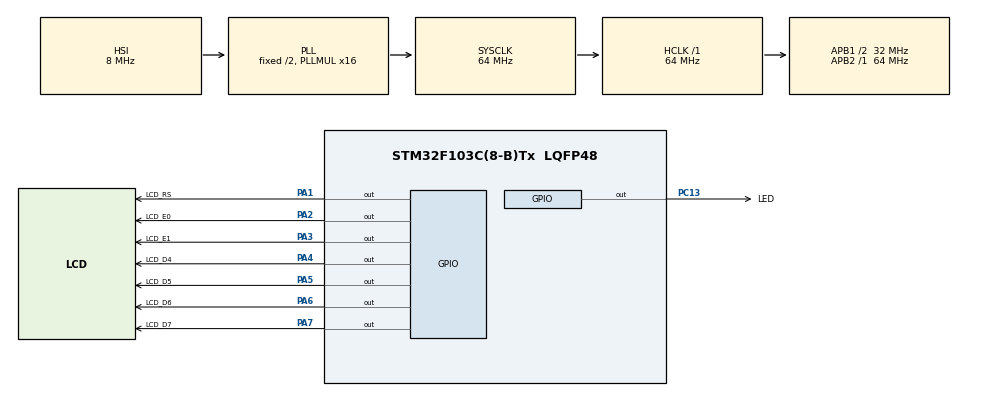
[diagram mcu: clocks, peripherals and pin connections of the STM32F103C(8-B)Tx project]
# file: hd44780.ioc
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Mcu.Family=STM32F1
Mcu.Name=STM32F103C(8-B)Tx
Mcu.Package=LQFP48
NVIC.PriorityGroup=NVIC_PRIORITYGROUP_4
NVIC.TIM1_UP_IRQn=true\:1\:0\:true\:false\:true\:true\:true\:true
PA1.GPIO_Label=LCD_RS
PA1.Signal=GPIO_Output
PA2.GPIO_Label=LCD_E0
PA2.Signal=GPIO_Output
PA3.GPIO_Label=LCD_E1
PA3.Signal=GPIO_Output
PA4.GPIO_Label=LCD_D4
PA4.Signal=GPIO_Output
PA5.GPIO_Label=LCD_D5
PA5.Signal=GPIO_Output
PA6.GPIO_Label=LCD_D6
PA6.Signal=GPIO_Output
PA7.GPIO_Label=LCD_D7
PA7.Signal=GPIO_Output
PC13-TAMPER-RTC.GPIO_Label=LED
PC13-TAMPER-RTC.Signal=GPIO_Output
PD0-OSC_IN.Mode=HSE-External-Oscillator
PD0-OSC_IN.Signal=RCC_OSC_IN
PD1-OSC_OUT.Mode=HSE-External-Oscillator
PD1-OSC_OUT.Signal=RCC_OSC_OUT
ProjectManager.HeapSize=0x200
ProjectManager.StackSize=0x400
ProjectManager.TargetToolchain=STM32CubeIDE
RCC.AHBFreq_Value=64000000
RCC.APB1CLKDivider=RCC_HCLK_DIV2
RCC.APB1Freq_Value=32000000
RCC.APB1TimFreq_Value=64000000
RCC.APB2Freq_Value=64000000
RCC.APB2TimFreq_Value=64000000
RCC.HCLKFreq_Value=64000000
RCC.PLLMUL=RCC_PLL_MUL16
RCC.SYSCLKFreq_VALUE=64000000
RCC.SYSCLKSource=RCC_SYSCLKSOURCE_PLLCLK
RCC.USBFreq_Value=64000000
VP_SYS_VS_ND.Mode=No_Debug
VP_TIM1_VS_ClockSourceINT.Mode=Internal
board=custom

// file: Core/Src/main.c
/* USER CODE BEGIN Header */
/**
  ******************************************************************************
  * @file           : main.c
  * @brief          : Main program body
  ******************************************************************************
  * @attention
  *
  * Copyright (c) 2024 STMicroelectronics.
  * All rights reserved.
  *
  * This software is licensed under terms that can be found in the LICENSE file
  * in the root directory of this software component.
  * If no LICENSE file comes with this software, it is provided AS-IS.
  *
  ******************************************************************************
  */
/* USER CODE END Header */
#include "main.h"

/* USER CODE BEGIN Includes */
#include "hd44780.h"

/* USER CODE END Includes */

TIM_HandleTypeDef htim1;

void SystemClock_Config(void);
static void MX_GPIO_Init(void);
static void MX_TIM1_Init(void);

int main(void)
{

  /* MCU Configuration--------------------------------------------------------*/

  /* Reset of all peripherals, Initializes the Flash interface and the Systick. */
  HAL_Init();

  /* Configure the system clock */
  SystemClock_Config();

  /* Initialize all configured peripherals */
  MX_GPIO_Init();
  MX_TIM1_Init();
  /* USER CODE BEGIN 2 */

  delay_init();

#if (LCD_MULTI_DISPLAY == LCD_SINGLE)
  lcd_begin(16, 2);

  lcd_setCursor(0, 0);
  lcd_print("line 0");
  lcd_setCursor(0, 1);
  lcd_print("line 1");
#endif

#if (LCD_MULTI_DISPLAY == LCD_MULTI)
  lcd_begin(LCD_ALL, 16, 2);

  lcd_setCursor(LCD_ALL, 0, 0);
  lcd_print(0, "lcd 0 line 0");
  lcd_print(1, "lcd 1 line 0");
  lcd_setCursor(LCD_ALL, 0, 1);
  lcd_print(0, "lcd 0 line 1");
  lcd_print(1, "lcd 1 line 1");
#endif

  /* USER CODE END 2 */

  /* Infinite loop */
  /* USER CODE BEGIN WHILE */
  while (1) {
#if (LCD_MULTI_DISPLAY == LCD_SINGLE)
    lcd_command(LCD_DISPLAYCONTROL | LCD_DISPLAYON);
    delay_ms(1000);
    lcd_command(LCD_DISPLAYCONTROL | LCD_DISPLAYOFF);
    delay_ms(1000);
#else
    lcd_command(LCD_ALL, LCD_DISPLAYCONTROL | LCD_DISPLAYON);
    delay_ms(1000);
    lcd_command(LCD_ALL, LCD_DISPLAYCONTROL | LCD_DISPLAYOFF);
    delay_ms(1000);
#endif
    /* USER CODE END WHILE */

  }
}

void SystemClock_Config(void)
{
  RCC_OscInitTypeDef RCC_OscInitStruct = {0};
  RCC_ClkInitTypeDef RCC_ClkInitStruct = {0};

  /** Initializes the RCC Oscillators according to the specified parameters
  * in the RCC_OscInitTypeDef structure.
  */
  RCC_OscInitStruct.OscillatorType = RCC_OSCILLATORTYPE_HSI;
  RCC_OscInitStruct.HSIState = RCC_HSI_ON;
  RCC_OscInitStruct.HSICalibrationValue = RCC_HSICALIBRATION_DEFAULT;
  RCC_OscInitStruct.PLL.PLLState = RCC_PLL_ON;
  RCC_OscInitStruct.PLL.PLLSource = RCC_PLLSOURCE_HSI_DIV2;
  RCC_OscInitStruct.PLL.PLLMUL = RCC_PLL_MUL16;
  if (HAL_RCC_OscConfig(&RCC_OscInitStruct) != HAL_OK)
  {
    Error_Handler();
  }

  /** Initializes the CPU, AHB and APB buses clocks
  */
  RCC_ClkInitStruct.ClockType = RCC_CLOCKTYPE_HCLK|RCC_CLOCKTYPE_SYSCLK
                              |RCC_CLOCKTYPE_PCLK1|RCC_CLOCKTYPE_PCLK2;
  RCC_ClkInitStruct.SYSCLKSource = RCC_SYSCLKSOURCE_PLLCLK;
  RCC_ClkInitStruct.AHBCLKDivider = RCC_SYSCLK_DIV1;
  RCC_ClkInitStruct.APB1CLKDivider = RCC_HCLK_DIV2;
  RCC_ClkInitStruct.APB2CLKDivider = RCC_HCLK_DIV1;

  if (HAL_RCC_ClockConfig(&RCC_ClkInitStruct, FLASH_LATENCY_2) != HAL_OK)
  {
    Error_Handler();
  }
}

static void MX_TIM1_Init(void)
{

  TIM_ClockConfigTypeDef sClockSourceConfig = {0};
  TIM_MasterConfigTypeDef sMasterConfig = {0};

  htim1.Instance = TIM1;
  htim1.Init.Prescaler = 0;
  htim1.Init.CounterMode = TIM_COUNTERMODE_UP;
  htim1.Init.Period = 65535;
  htim1.Init.ClockDivision = TIM_CLOCKDIVISION_DIV1;
  htim1.Init.RepetitionCounter = 0;
  htim1.Init.AutoReloadPreload = TIM_AUTORELOAD_PRELOAD_DISABLE;
  if (HAL_TIM_Base_Init(&htim1) != HAL_OK)
  {
    Error_Handler();
  }
  sClockSourceConfig.ClockSource = TIM_CLOCKSOURCE_INTERNAL;
  if (HAL_TIM_ConfigClockSource(&htim1, &sClockSourceConfig) != HAL_OK)
  {
    Error_Handler();
  }
  sMasterConfig.MasterOutputTrigger = TIM_TRGO_RESET;
  sMasterConfig.MasterSlaveMode = TIM_MASTERSLAVEMODE_DISABLE;
  if (HAL_TIMEx_MasterConfigSynchronization(&htim1, &sMasterConfig) != HAL_OK)
  {
    Error_Handler();
  }

}

static void MX_GPIO_Init(void)
{
  GPIO_InitTypeDef GPIO_InitStruct = {0};

  /* GPIO Ports Clock Enable */
  __HAL_RCC_GPIOC_CLK_ENABLE();
  __HAL_RCC_GPIOD_CLK_ENABLE();
  __HAL_RCC_GPIOA_CLK_ENABLE();

  /*Configure GPIO pin Output Level */
  HAL_GPIO_WritePin(LED_GPIO_Port, LED_Pin, GPIO_PIN_RESET);

  /*Configure GPIO pin Output Level */
  HAL_GPIO_WritePin(GPIOA, LCD_RS_Pin|LCD_E0_Pin|LCD_E1_Pin|LCD_D4_Pin
                          |LCD_D5_Pin|LCD_D6_Pin|LCD_D7_Pin, GPIO_PIN_RESET);

  /*Configure GPIO pin : LED_Pin */
  GPIO_InitStruct.Pin = LED_Pin;
  GPIO_InitStruct.Mode = GPIO_MODE_OUTPUT_PP;
  GPIO_InitStruct.Pull = GPIO_NOPULL;
  GPIO_InitStruct.Speed = GPIO_SPEED_FREQ_LOW;
  HAL_GPIO_Init(LED_GPIO_Port, &GPIO_InitStruct);

  /*Configure GPIO pins : LCD_RS_Pin LCD_E0_Pin LCD_E1_Pin LCD_D4_Pin
                           LCD_D5_Pin LCD_D6_Pin LCD_D7_Pin */
  GPIO_InitStruct.Pin = LCD_RS_Pin|LCD_E0_Pin|LCD_E1_Pin|LCD_D4_Pin
                          |LCD_D5_Pin|LCD_D6_Pin|LCD_D7_Pin;
  GPIO_InitStruct.Mode = GPIO_MODE_OUTPUT_PP;
  GPIO_InitStruct.Pull = GPIO_NOPULL;
  GPIO_InitStruct.Speed = GPIO_SPEED_FREQ_LOW;
  HAL_GPIO_Init(GPIOA, &GPIO_InitStruct);

}

void Error_Handler(void)
{
  __disable_irq();
  while (1)
  {
  }
}
